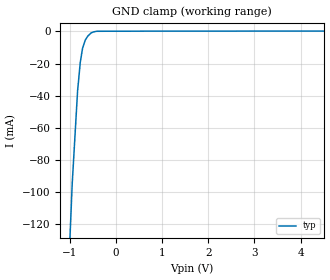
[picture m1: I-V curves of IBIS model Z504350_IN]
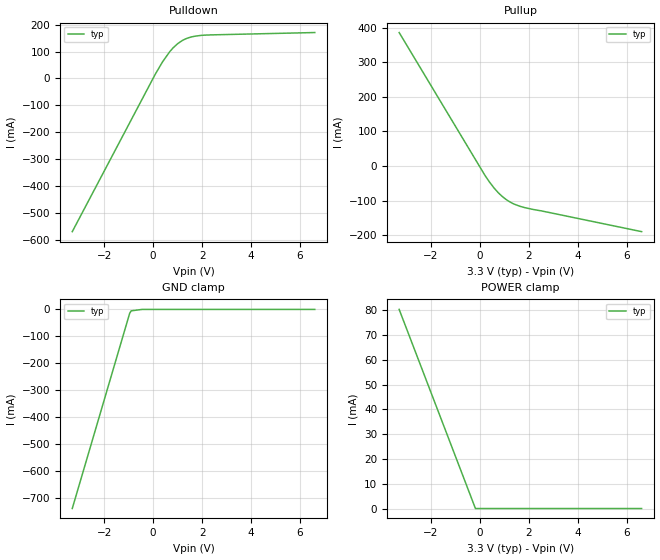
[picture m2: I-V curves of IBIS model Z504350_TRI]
| YOU ARE ONLY AUTHORIZED TO USE THIS SOFTWARE
| ACCORDING TO LICENSOR'S LICENSE RESTRICTIONS.
[IBIS Ver] 3.1
[File Name] mc74lcx574dw.ibs
[File Rev] 2.0
[Source] Measured and created by ICX Technology
[Date] Friday 7/14/00 9:08:12 AM
[Copyright]
| (C) COPYRIGHT 1993-2000
| MENTOR GRAPHICS CORPORATION
| ICX STANDARD LIBRARY, ICX PROJECT MODELING,
| ICX CUSTOM MODELING, ICX VENDOR MODEL
| ALL RIGHTS RESERVED.
| THE FOLLOWING ARE TRADEMARKS OR SERVICE MARKS OF
| MENTOR GRAPHICS CORPORATION:ICX (R), ICX STANDARD
| LIBRARY(R), ICX PROJECT MODELING(R), ICX CUSTOM
| MODELING(R), qualityIBIS(TM), MODELVIEWER(TM),
| AND MODELEDITOR(TM)
| ALL COPIES OF SOFTWARE, INCLUDING BUT NOT LIMITED TO
| ANY MODIFICATIONS, ENHANCEMENTS OR DERIVATIVE WORKS,
| MUST CONTAIN ALL MENTOR GRAPHICS CORPORATION'S
| NOTICES AND LEGENDS, INCLUDING THOSE EMBEDDED IN
| SOFTWARE AND THOSE AFFIXED TO SOFTWARE MEDIUM
| AND CONTAINER, AS RECEIVED FROM MENTOR GRAPHICS
| CORPORATION.
|  ZAP Model Builder 2.7
[Component] MC74LCX574DW
[Manufacturer] OnSemiconductor
[Package]
| variable   typ   min   max
R_pkg  .178ohms NA NA
L_pkg  4.43nH NA NA
C_pkg  .62pF NA NA
[Pin] signal_name  model_name  R_pin  L_pin C_pin
1 _EN Z504350_IN .186 5.37n .68p
2 D0 Z504350_IN .182 4.89n .65p
3 D1 Z504350_IN .178 4.42n .62p
4 D2 Z504350_IN .174 3.96n .59p
5 D3 Z504350_IN .17 3.51n .56p
6 D4 Z504350_IN .17 3.51n .56p
7 D5 Z504350_IN .174 3.96n .59p
8 D6 Z504350_IN .178 4.42n .62p
9 D7 Z504350_IN .182 4.89n .65p
10 GROUND GND .186 5.37n .68p
11 CLK Z504350_IN .186 5.37n .68p
12 Q7 Z504350_TRI .182 4.89n .65p
13 Q6 Z504350_TRI .178 4.42n .62p
14 Q5 Z504350_TRI .174 3.96n .59p
15 Q4 Z504350_TRI .17 3.51n .56p
16 Q3 Z504350_TRI .17 3.51n .56p
17 Q2 Z504350_TRI .174 3.96n .59p
18 Q1 Z504350_TRI .178 4.42n .62p
19 Q0 Z504350_TRI .182 4.89n .65p
20 VCC POWER .186 5.37n .68p
| Models and submodels in the file (2): Z504350_IN (Input), Z504350_TRI (3-state)
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| (C) COPYRIGHT 1993-2000
| MENTOR GRAPHICS CORPORATION
| ICX STANDARD LIBRARY, ICX PROJECT MODELING,
| ICX CUSTOM MODELING, ICX VENDOR MODEL
| ALL RIGHTS RESERVED.
| THE FOLLOWING ARE TRADEMARKS OR SERVICE MARKS OF
| MENTOR GRAPHICS CORPORATION:ICX (R), ICX STANDARD
| LIBRARY(R), ICX PROJECT MODELING(R), ICX CUSTOM
| MODELING(R), qualityIBIS(TM), MODELVIEWER(TM),
| AND MODELEDITOR(TM)
| ALL COPIES OF SOFTWARE, INCLUDING BUT NOT LIMITED TO
| ANY MODIFICATIONS, ENHANCEMENTS OR DERIVATIVE WORKS,
| MUST CONTAIN ALL MENTOR GRAPHICS CORPORATION'S
| NOTICES AND LEGENDS, INCLUDING THOSE EMBEDDED IN
| SOFTWARE AND THOSE AFFIXED TO SOFTWARE MEDIUM
| AND CONTAINER, AS RECEIVED FROM MENTOR GRAPHICS
| CORPORATION.
| Model Application Version 1.89 2/18/99.
[Model] Z504350_IN
Model_type Input
Vinl = 800.0mV
Vinh = 2.000V
C_comp 4.000pF NA NA
| variable typ   min   max
[Voltage Range] 3.300V NA NA
[GND Clamp Reference] 0.000V NA NA
[POWER Clamp Reference] 3.300V NA NA
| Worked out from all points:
|   GND clamp passes 1 mA (typ) near -0.54 V on its own axis
[GND Clamp]
-3.3V     -1.73A     NA         NA
-945.9mV  -94.96mA   NA         NA
-828.9mV  -36.92mA   NA         NA
-770.6mV  -19.13mA   NA         NA
-721.2mV  -10.44mA   NA         NA
-663.1mV  -5.406mA   NA         NA
-606.8mV  -2.807mA   NA         NA
-531.7mV  -838.8uA   NA         NA
-410.2mV  111.4uA    NA         NA
-205.1mV  146.1uA    NA         NA
6.6V      243.8uA    NA         NA
[POWER Clamp]
-3.3V     0A         NA         NA
6.6V      0A         NA         NA
| (C) COPYRIGHT 1993-2000
| MENTOR GRAPHICS CORPORATION
| ICX STANDARD LIBRARY, ICX PROJECT MODELING,
| ICX CUSTOM MODELING, ICX VENDOR MODEL
| ALL RIGHTS RESERVED.
| THE FOLLOWING ARE TRADEMARKS OR SERVICE MARKS OF
| MENTOR GRAPHICS CORPORATION:ICX (R), ICX STANDARD
| LIBRARY(R), ICX PROJECT MODELING(R), ICX CUSTOM
| MODELING(R), qualityIBIS(TM), MODELVIEWER(TM),
| AND MODELEDITOR(TM)
| ALL COPIES OF SOFTWARE, INCLUDING BUT NOT LIMITED TO
| ANY MODIFICATIONS, ENHANCEMENTS OR DERIVATIVE WORKS,
| MUST CONTAIN ALL MENTOR GRAPHICS CORPORATION'S
| NOTICES AND LEGENDS, INCLUDING THOSE EMBEDDED IN
| SOFTWARE AND THOSE AFFIXED TO SOFTWARE MEDIUM
| AND CONTAINER, AS RECEIVED FROM MENTOR GRAPHICS
| CORPORATION.
| Model Application Version 1.89 2/18/99.
[Model] Z504350_TRI
Model_type 3-state
Vref=0.000V
Rref=500.0ohms
Cref=50.00pF
Vmeas=1.500V
C_comp 8.000pF NA NA
| variable typ   min   max
[Voltage Range] 3.300V NA NA
[POWER Clamp Reference] 3.300V NA NA
[Pullup Reference] 3.300V NA NA
[Pulldown Reference] 0.000V NA NA
[GND Clamp Reference] 0.000V NA NA
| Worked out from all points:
|   slope of the pulldown table from 0 to 0.495 V, typ, clamps not added: 6.57 ohm
|   slope of the pullup table from 0 to 0.495 V, typ, clamps not added: 9.32 ohm
|   POWER clamp passes 1 mA (typ) near -0.22 V on its own axis
[GND Clamp]
-3.3V     -740.3mA   NA         NA
-957mV    -14.8mA    NA         NA
-896.9mV  -5.365mA   NA         NA
-448.4mV  0A         NA         NA
6.6V      0A         NA         NA
[Pulldown]
-3.3V     -568.9mA   NA         NA
88.46mV   15.65mA    NA         NA
381.1mV   61.05mA    NA         NA
679.2mV   99.36mA    NA         NA
1.005V    129.3mA    NA         NA
1.401V    149.7mA    NA         NA
1.97V     160mA      NA         NA
6.6V      170.5mA    NA         NA
[Pullup]
-3.3V     386.3mA    NA         NA
207mV     -27.59mA   NA         NA
585mV     -64.56mA   NA         NA
884mV     -86.55mA   NA         NA
1.166V    -101.7mA   NA         NA
1.376V    -109.8mA   NA         NA
1.83V     -120.5mA   NA         NA
6.6V      -190mA     NA         NA
[POWER Clamp]
-3.3V     80.32mA    NA         NA
-372mV    4.823mA    NA         NA
-186mV    0A         NA         NA
6.6V      0A         NA         NA
[Ramp]
| variable typ min max
dV/dt_r 1.964/407.2p NA NA
dV/dt_f 1.964/1.241n NA NA
R_load = 500.0Ohms
